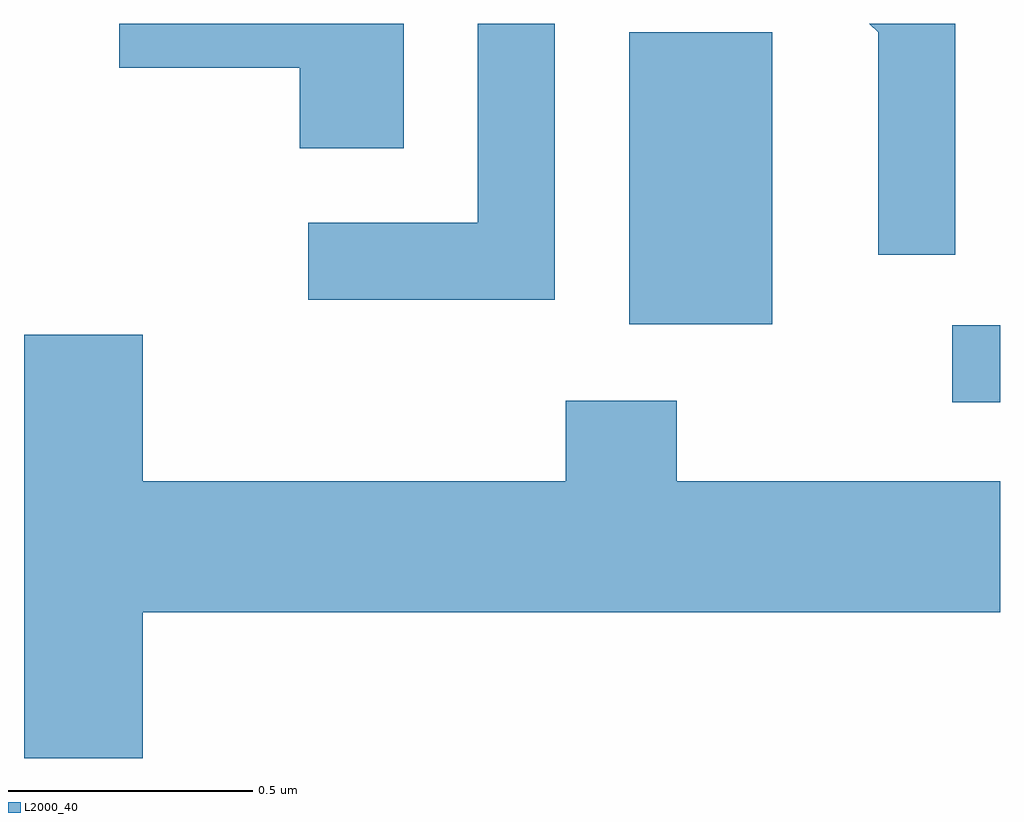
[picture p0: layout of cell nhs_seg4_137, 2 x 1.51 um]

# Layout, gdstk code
import gdstk
lib = gdstk.Library(unit=1e-6, precision=1e-09)
def R(c, l, rs):  # rectangles x0, y0, x1, y1
    for r in rs: c.add(gdstk.rectangle(r[:2], r[2:], *l))
def P(c, l, *ps):  # polygons
    for p in ps: c.add(gdstk.Polygon(p, *l))
L2000_40 = (2000, 40)

nhs_seg4_137 = lib.new_cell('nhs_seg4_137')
R(nhs_seg4_137, L2000_40, [(188.513,1255.206,188.611,1255.364), (187.851,1255.366,188.144,1255.964)])
P(nhs_seg4_137, L2000_40, [(187.699,1255.982),(187.541,1255.982),(187.541,1255.574),(187.193,1255.574),(187.193,1255.416),(187.699,1255.416)],
  [(188.519,1255.982),(188.343,1255.982),(188.361,1255.964),(188.361,1255.508),(188.519,1255.508)],
  [(187.389,1255.982),(186.806,1255.982),(186.806,1255.891),(187.176,1255.891),(187.176,1255.726),(187.389,1255.726)],
  [(186.854,1254.776),(188.611,1254.776),(188.611,1255.044),(187.949,1255.044),(187.949,1255.209),(187.721,1255.209),(187.721,1255.044),(186.854,1255.044),(186.854,1255.344),(186.611,1255.344),(186.611,1254.476),(186.854,1254.476)])

lib.write_gds('nhs_seg4_137.gds')
